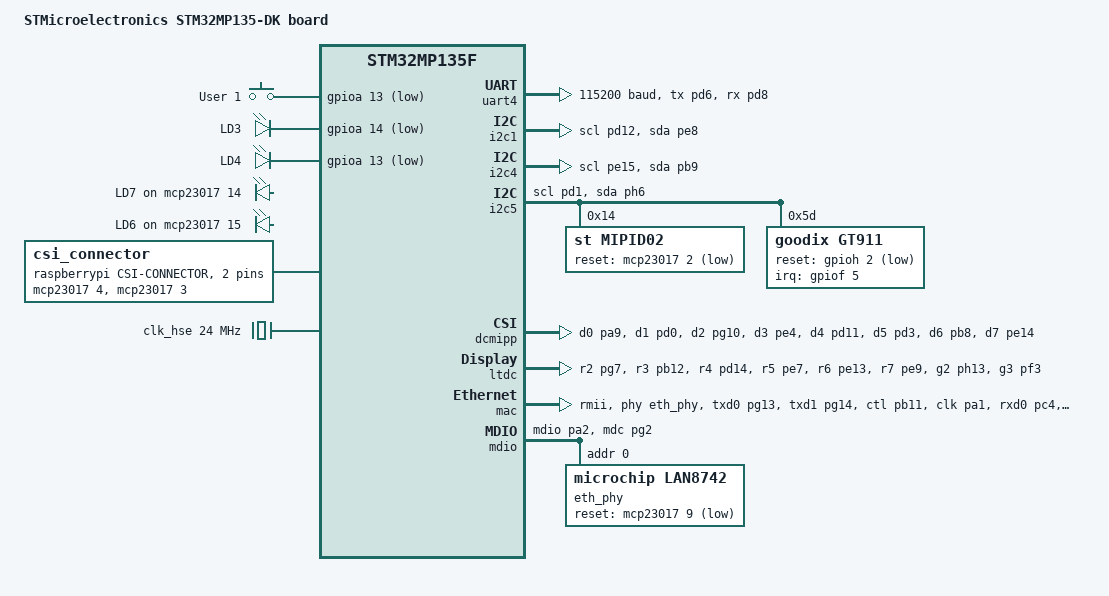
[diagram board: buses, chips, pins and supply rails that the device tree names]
/*
 * Copyright (c) 2025 STMicroelectronics
 *
 * SPDX-License-Identifier: Apache-2.0
 */

/dts-v1/;

#include <st/mp13/stm32mp135.dtsi>
#include <st/mp13/stm32mp135faex-pinctrl.dtsi>
#include "zephyr/dt-bindings/display/panel.h"
#include <zephyr/dt-bindings/gpio/raspberrypi-csi-connector.h>
#include <zephyr/dt-bindings/input/input-event-codes.h>
#include <zephyr/dt-bindings/video/video-interfaces.h>

/ {
	model = "STMicroelectronics STM32MP135-DK board";
	compatible = "st,stm32mp135f-dk";

	chosen {
		zephyr,flash = &ddr_code;
		zephyr,sram = &ddr_data;
		zephyr,console = &uart4;
		zephyr,shell-uart = &uart4;
		zephyr,display = &ltdc;
		zephyr,touch = &gt911;
	};

	gpio_keys {
		compatible = "gpio-keys";

		user_button: button {
			label = "User 1";
			gpios = <&gpioa 13 GPIO_ACTIVE_LOW>;
			zephyr,code = <INPUT_KEY_0>;
		};
	};

	leds {
		compatible = "gpio-leds";

		blue_led_1: led_1 {
			gpios = <&gpioa 14 GPIO_ACTIVE_LOW>;
			label = "LD3";
		};

		red_led_2: led_2 {
			gpios = <&gpioa 13 GPIO_ACTIVE_LOW>;
			label = "LD4";
		};

		green_led_3: led_3 {
			gpios = <&mcp23017 14 GPIO_ACTIVE_HIGH>;
			label = "LD7";
		};

		orange_led_4: led_4 {
			gpios = <&mcp23017 15 GPIO_ACTIVE_HIGH>;
			label = "LD6";
		};
	};

	aliases {
		led0 = &blue_led_1;
		led1 = &red_led_2;
		sw0 = &user_button;
	};

	csi_connector: connector_csi {
		compatible = "raspberrypi,csi-connector";
		#gpio-cells = <2>;
		gpio-map-mask = <0xffffffff 0xffffffc0>;
		gpio-map-pass-thru = <0 0x3f>;
		gpio-map = <CSI_IO0 0 &mcp23017 4 0>,
			   <CSI_IO1 0 &mcp23017 3 0>;
	};

	eth_ram: sram@2fffc000 {
		compatible = "zephyr,memory-region", "mmio-sram";
		reg = <0x2fffc000 DT_SIZE_K(16)>;
		#memory-region-cells = <0>;
		zephyr,memory-region = "ETH_SRAM";
	};
};

&clk_hsi {
	clock-frequency = <DT_FREQ_M(64)>;
	status = "okay";
};

&clk_hse {
	clock-frequency = <DT_FREQ_M(24)>;
	status = "okay";
};

&cpusw {
	clocks = <&clk_hsi>;
	clock-frequency = <DT_FREQ_M(64)>;
	status = "okay";
};

&pll1 {
	clocks = <&clk_hse>;
	div-m = <2>;
	mul-n = <83>;
	div-p = <1>;
	fracn = <2730>;
	status = "okay";
};

&pll2 {
	clocks = <&clk_hse>;
	div-m = <3>;
	mul-n = <66>;
	div-p = <2>;
	div-q = <2>;
	div-r = <1>;
	fracn = <5120>;
	status = "okay";
};

&pll4 {
	clocks = <&clk_hsi>;
	div-m = <2>;
	mul-n = <50>;
	div-p = <12>;
	div-q = <60>;
	div-r = <6>;
	fracn = <0>;
	status = "okay";
};

&rcc {
	clock-frequency = <DT_FREQ_M(1000)>;
	clocks = <&pll>;
	ahb-prescaler = <1>;
	apb1-prescaler = <1>;
	apb2-prescaler = <1>;
};

&sysram {
	reg = <0x2ffe0000 DT_SIZE_K(112)>;
};

&uart4 {
	pinctrl-names = "default";
	pinctrl-0 = <&uart4_tx_pd6 &uart4_rx_pd8>;
	current-speed = <115200>;
	status = "okay";
};

&i2c1 {
	pinctrl-names = "default";
	pinctrl-0 = <&i2c1_scl_pd12 &i2c1_sda_pe8>;
	status = "okay";

	mcp23017: pinctrl@21 {
		compatible = "microchip,mcp23017";
		reg = <0x21>;
		gpio-controller;
		#gpio-cells = <2>;
		ngpios = <16>;
	};
};

&i2c4 {
	pinctrl-names = "default";
	pinctrl-0 = <&i2c4_scl_pe15 &i2c4_sda_pb9>;
	status = "okay";
};

csi_i2c: &i2c5 {
	pinctrl-names = "default";
	pinctrl-0 = <&i2c5_scl_pd1 &i2c5_sda_ph6>;
	status = "okay";

	mipid02: bridge@14 {
		compatible = "st,mipid02";
		reg = <0x14>;
		reset-gpios = <&mcp23017 2 GPIO_ACTIVE_LOW>;

		ports {
			#address-cells = <1>;
			#size-cells = <0>;

			port@0 {
				reg = <0>;

				csi_ep_in: endpoint {
					remote-endpoint-label = "";
				};
			};

			port@2 {
				reg = <2>;

				mipid02_2: endpoint {
					bus-width = <8>;
					hsync-active = <0>;
					vsync-active = <0>;
					pclk-sample = <0>;
					remote-endpoint-label = "dcmipp_ep_in";
				};
			};
		};
	};

	gt911: gt911@5d {
		compatible = "goodix,gt911";
		reg = <0x5d>;
		reset-gpios = <&gpioh 2 GPIO_ACTIVE_LOW>;
		irq-gpios = <&gpiof 5 (GPIO_ACTIVE_HIGH | GPIO_PULL_DOWN)>;
	};
};

csi_interface: &dcmipp {
	pinctrl-0 = <&dcmipp_d0_pa9 &dcmipp_d1_pd0 &dcmipp_d2_pg10 &dcmipp_d3_pe4
		     &dcmipp_d4_pd11 &dcmipp_d5_pd3 &dcmipp_d6_pb8 &dcmipp_d7_pe14
		     &dcmipp_pixclk_pb7 &dcmipp_vsync_pg9 &dcmipp_hsync_ph8>;
	pinctrl-names = "default";

	port {
		dcmipp_ep_in: endpoint {
			bus-width = <8>;
			hsync-active = <0>;
			vsync-active = <0>;
			pclk-sample = <0>;
			bus-type = <VIDEO_BUS_TYPE_PARALLEL>;
			remote-endpoint-label = "mipid02_2";
		};
	};
};

&ltdc {
	pinctrl-0 = <&ltdc_r2_pg7 &ltdc_r3_pb12
		     &ltdc_r4_pd14 &ltdc_r5_pe7 &ltdc_r6_pe13 &ltdc_r7_pe9
		     &ltdc_g2_ph13 &ltdc_g3_pf3
		     &ltdc_g4_pd5 &ltdc_g5_pg0 &ltdc_g6_pc7 &ltdc_g7_pa15
		     &ltdc_b2_pd10 &ltdc_b3_pf2
		     &ltdc_b4_ph14 &ltdc_b5_pe0 &ltdc_b6_pb6 &ltdc_b7_pf1
		     &ltdc_de_ph9 &ltdc_clk_pd9 &ltdc_hsync_pc6 &ltdc_vsync_pg4>;
	pinctrl-names = "default";
	disp-on-gpios = <&gpioi 7 GPIO_ACTIVE_HIGH>;
	bl-ctrl-gpios = <&gpioe 12 GPIO_ACTIVE_HIGH>;

	status = "okay";

	width = <480>;
	height = <272>;
	pixel-format = <PANEL_PIXEL_FORMAT_RGB_565>;

	display-timings {
		compatible = "zephyr,panel-timing";
		de-active = <0>;
		pixelclk-active = <0>;
		hsync-active = <0>;
		vsync-active = <0>;
		hsync-len = <41>;
		vsync-len = <10>;
		hback-porch = <13>;
		vback-porch = <2>;
		hfront-porch = <32>;
		vfront-porch = <2>;
	};

	def-back-color-red = <0xff>;
	def-back-color-green = <0xff>;
	def-back-color-blue = <0xff>;
};

/*
 * MCO1 is used to clock ST-MIPID02, keep disabled here, will be
 * enabled by a shield when camera pipeline is enabled
 */
&mco1 {
	clocks = <&rcc STM32_SRC_HSE MCO1_SEL(MCO1_SEL_HSE)>;
	prescaler = <MCO1_PRE(MCO_PRE_DIV_1)>;
	pinctrl-0 = <&rcc_mco_1_pd7>;
	pinctrl-names = "default";

	status = "disabled";
};

&mac {
	pinctrl-0 = <&eth1_txd0_pg13
		     &eth1_txd1_pg14
		     &eth1_tx_ctl_pb11
		     &eth1_ref_clk_pa1
		     &eth1_rxd0_pc4
		     &eth1_rxd1_pc5
		     &eth1_crs_dv_pc1>;
	pinctrl-names = "default";
	phy-connection-type = "rmii";
	phy-handle = <&eth_phy>;
	memory-regions = <&eth_ram>;

	status = "okay";
};

&mdio {
	pinctrl-0 = <&eth1_mdio_pa2 &eth1_mdc_pg2>;
	pinctrl-names = "default";
	status = "okay";

	eth_phy: ethernet-phy@0 {
		compatible = "microchip,lan8742";
		reg = <0>;
		reset-gpios = <&mcp23017 9 GPIO_ACTIVE_LOW>;
	};
};
